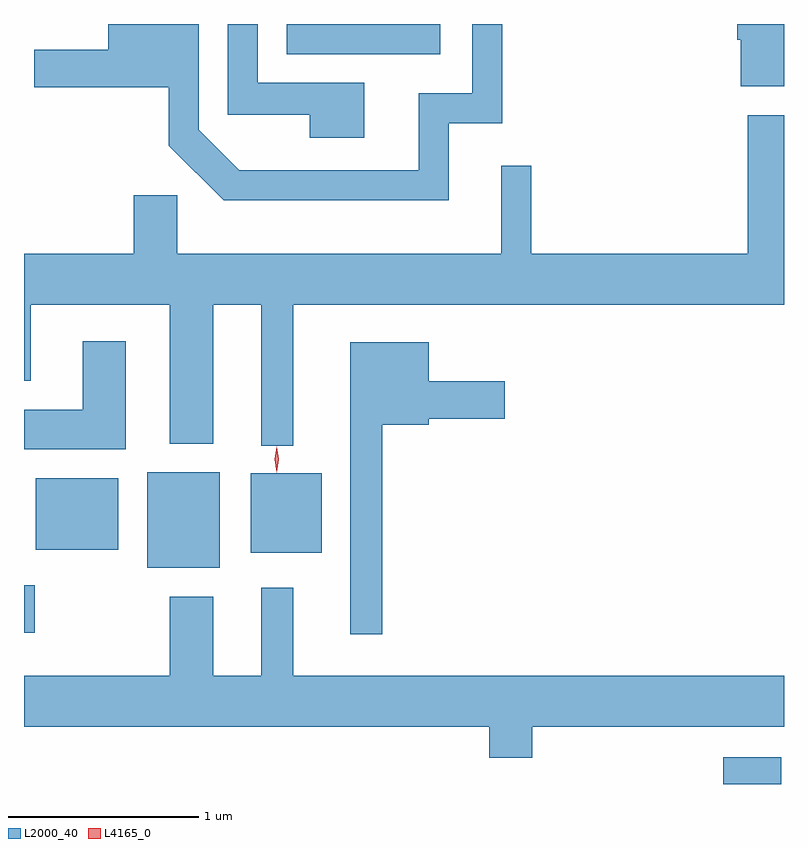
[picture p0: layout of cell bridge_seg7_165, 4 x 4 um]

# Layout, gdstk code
import gdstk
lib = gdstk.Library(unit=1e-6, precision=1e-09)
def R(c, l, rs):  # rectangles x0, y0, x1, y1
    for r in rs: c.add(gdstk.rectangle(r[:2], r[2:], *l))
def P(c, l, *ps):  # polygons
    for p in ps: c.add(gdstk.Polygon(p, *l))
L2000_40 = (2000, 40)
L4165_0 = (4165, 0)

bridge_seg7_165 = lib.new_cell('bridge_seg7_165')
R(bridge_seg7_165, L2000_40, [(1658.933,1729.554,1659.239,1729.694), (1655.253,1730.351,1655.309,1730.599), (1655.901,1730.691,1656.284,1731.194), (1656.446,1730.771,1656.819,1731.189), (1655.316,1730.786,1655.749,1731.164), (1656.636,1733.396,1657.444,1733.554)])
P(bridge_seg7_165, L2000_40, [(1657.489,1733.031),(1657.769,1733.031),(1657.769,1733.553),(1657.611,1733.553),(1657.611,1733.189),(1657.331,1733.189),(1657.331,1732.784),(1656.387,1732.784),(1656.174,1732.997),(1656.174,1733.554),(1655.696,1733.554),(1655.696,1733.419),(1655.306,1733.419),(1655.306,1733.221),(1656.016,1733.221),(1656.016,1732.914),(1656.304,1732.626),(1657.489,1732.626)],
  [(1657.044,1733.244),(1656.484,1733.244),(1656.484,1733.554),(1656.326,1733.554),(1656.326,1733.076),(1656.756,1733.076),(1656.756,1732.956),(1657.044,1732.956)],
  [(1659.253,1733.554),(1659.006,1733.554),(1659.006,1733.471),(1659.026,1733.471),(1659.026,1733.226),(1659.253,1733.226)],
  [(1656.669,1732.076),(1659.253,1732.076),(1659.253,1733.074),(1659.061,1733.074),(1659.061,1732.344),(1657.924,1732.344),(1657.924,1732.808),(1657.766,1732.808),(1657.766,1732.344),(1656.059,1732.344),(1656.059,1732.654),(1655.831,1732.654),(1655.831,1732.344),(1655.253,1732.344),(1655.253,1731.676),(1655.289,1731.676),(1655.289,1732.076),(1656.021,1732.076),(1656.021,1731.346),(1656.249,1731.346),(1656.249,1732.076),(1656.501,1732.076),(1656.501,1731.333),(1656.669,1731.333)],
  [(1655.789,1731.884),(1655.561,1731.884),(1655.561,1731.524),(1655.253,1731.524),(1655.253,1731.316),(1655.789,1731.316)],
  [(1657.139,1731.446),(1657.384,1731.446),(1657.384,1731.476),(1657.784,1731.476),(1657.784,1731.674),(1657.384,1731.674),(1657.384,1731.879),(1656.971,1731.879),(1656.971,1730.343),(1657.139,1730.343)],
  [(1657.929,1729.856),(1659.253,1729.856),(1659.253,1730.124),(1656.669,1730.124),(1656.669,1730.588),(1656.501,1730.588),(1656.501,1730.124),(1656.249,1730.124),(1656.249,1730.539),(1656.021,1730.539),(1656.021,1730.124),(1655.253,1730.124),(1655.253,1729.856),(1657.701,1729.856),(1657.701,1729.691),(1657.929,1729.691)])
P(bridge_seg7_165, L4165_0, [(1656.583,1731.194),(1656.583,1731.194),(1656.573,1731.262),(1656.583,1731.33),(1656.583,1731.33),(1656.584,1731.33),(1656.593,1731.262),(1656.584,1731.194)],
  [(1656.583,1731.198),(1656.583,1731.198),(1656.573,1731.262),(1656.583,1731.327),(1656.583,1731.327),(1656.584,1731.327),(1656.593,1731.262),(1656.584,1731.198)])

lib.write_gds('bridge_seg7_165.gds')
